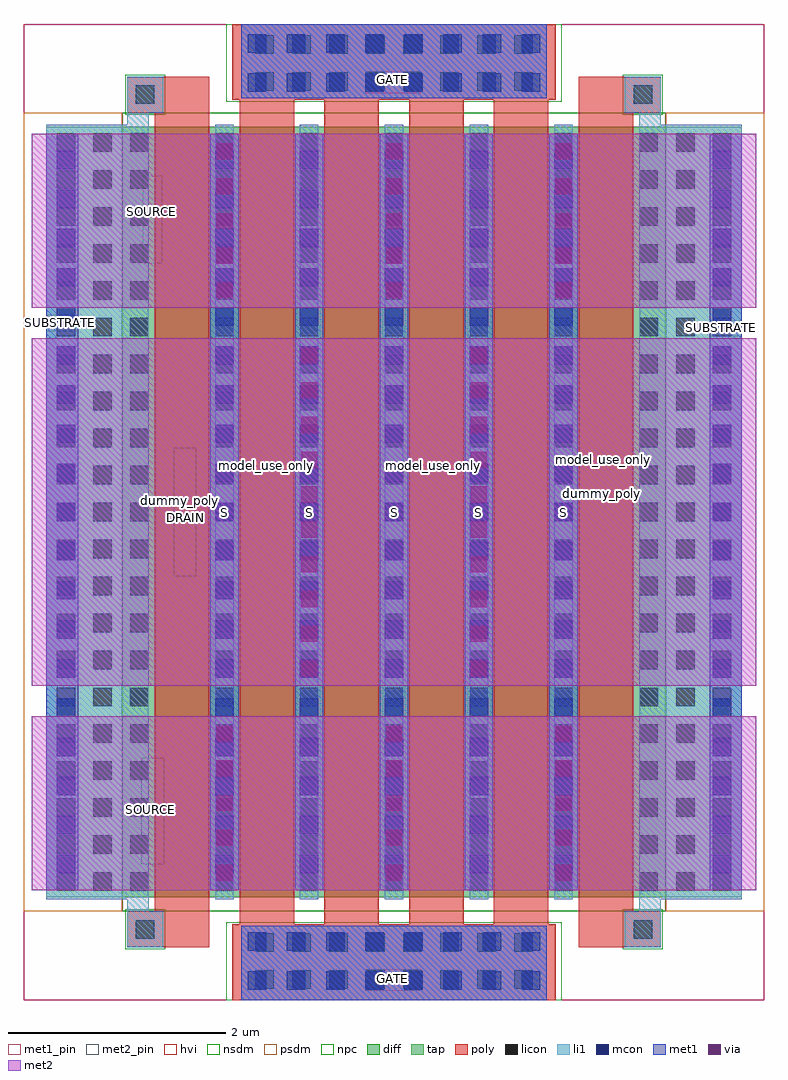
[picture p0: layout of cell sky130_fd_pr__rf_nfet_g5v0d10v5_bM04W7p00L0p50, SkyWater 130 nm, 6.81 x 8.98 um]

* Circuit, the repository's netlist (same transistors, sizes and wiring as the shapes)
* Copyright 2020 The SkyWater PDK Authors
*
* Licensed under the Apache License, Version 2.0 (the "License");
* you may not use this file except in compliance with the License.
* You may obtain a copy of the License at
*
*     https://www.apache.org/licenses/LICENSE-2.0
*
* Unless required by applicable law or agreed to in writing, software
* distributed under the License is distributed on an "AS IS" BASIS,
* WITHOUT WARRANTIES OR CONDITIONS OF ANY KIND, either express or implied.
* See the License for the specific language governing permissions and
* limitations under the License.
*
* SPDX-License-Identifier: Apache-2.0


.subckt sky130_fd_pr__rf_nfet_g5v0d10v5_bM04W7p00L0p50 DRAIN GATE SOURCE SUBSTRATE
X0 SUBSTRATE SUBSTRATE SOURCE SUBSTRATE sky130_fd_pr__nfet_g5v0d10v5 w=7.09e+06u l=500000u
X1 DRAIN GATE SOURCE SUBSTRATE sky130_fd_pr__nfet_g5v0d10v5 w=7.09e+06u l=500000u
X2 DRAIN GATE SOURCE SUBSTRATE sky130_fd_pr__nfet_g5v0d10v5 w=7.09e+06u l=500000u
X3 SOURCE SUBSTRATE SUBSTRATE SUBSTRATE sky130_fd_pr__nfet_g5v0d10v5 w=7.09e+06u l=500000u
X4 SOURCE GATE DRAIN SUBSTRATE sky130_fd_pr__nfet_g5v0d10v5 w=7.09e+06u l=500000u
X5 SOURCE GATE DRAIN SUBSTRATE sky130_fd_pr__nfet_g5v0d10v5 w=7.09e+06u l=500000u
.ends

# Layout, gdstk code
import gdstk
lib = gdstk.Library(unit=1e-6, precision=1e-09)
def R(c, l, rs):  # rectangles x0, y0, x1, y1
    for r in rs: c.add(gdstk.rectangle(r[:2], r[2:], *l))
def A(c, l, x, y, w, h, nx, ny, dx, dy):  # array of equal rectangles
    R(c, l, [(x+i*dx, y+j*dy, x+i*dx+w, y+j*dy+h) for i in range(nx) for j in range(ny)])
diff = (65, 20)
tap = (65, 44)
poly = (66, 20)
licon = (66, 44)
li1 = (67, 20)
mcon = (67, 44)
met1_pin = (68, 16)
met1 = (68, 20)
via = (68, 44)
met2_pin = (69, 16)
met2 = (69, 20)
hvi = (75, 20)
nsdm = (93, 44)
psdm = (94, 20)
npc = (95, 20)

sky130_fd_pr__rf_nfet_g5 = lib.new_cell('sky130_fd_pr__rf_nfet_g5v0d10v5_bM04W7p00L0p50')
R(sky130_fd_pr__rf_nfet_g5, diff, [(0.905,0.945,5.905,8.035)])
R(sky130_fd_pr__rf_nfet_g5, tap, [(0.205,0.945,0.905,8.035), (5.905,0.945,6.605,8.035)])
A(sky130_fd_pr__rf_nfet_g5, poly, 1.985, 0.695, 0.5, 7.59, 4, 1, 0.78, 0)
R(sky130_fd_pr__rf_nfet_g5, poly, [(1.915,0,4.895,0.695), (0.95,0.485,1.28,0.815), (1.205,0.485,1.705,8.495), (5.105,0.485,5.605,8.495), (5.53,0.485,5.86,0.815), (0.95,8.165,1.28,8.495), (5.53,8.165,5.86,8.495), (1.915,8.285,4.895,8.98)])
A(sky130_fd_pr__rf_nfet_g5, licon, 2.13, 0.105, 0.17, 0.17, 8, 2, 0.34, 0.34)
A(sky130_fd_pr__rf_nfet_g5, licon, 0.3, 1.005, 0.17, 0.17, 3, 21, 0.34, 0.34)
A(sky130_fd_pr__rf_nfet_g5, licon, 1.76, 1.005, 0.17, 0.17, 6, 21, 0.78, 0.34)
A(sky130_fd_pr__rf_nfet_g5, licon, 6, 1.005, 0.17, 0.17, 1, 21, 0, 0.34)
A(sky130_fd_pr__rf_nfet_g5, licon, 6.34, 1.005, 0.17, 0.17, 1, 21, 0, 0.34)
A(sky130_fd_pr__rf_nfet_g5, licon, 2.13, 8.365, 0.17, 0.17, 8, 2, 0.34, 0.34)
R(sky130_fd_pr__rf_nfet_g5, licon, [(1.03,0.565,1.2,0.735), (5.61,0.565,5.78,0.735), (1.03,8.245,1.2,8.415), (5.61,8.245,5.78,8.415)])
A(sky130_fd_pr__rf_nfet_g5, li1, 1.76, 0.925, 0.17, 7.13, 5, 1, 0.78, 0)
A(sky130_fd_pr__rf_nfet_g5, li1, 1.76, 3.145, 0.17, 2.69, 5, 1, 0.78, 0)
R(sky130_fd_pr__rf_nfet_g5, li1, [(2,0,4.81,0.685), (0.95,0.485,1.28,0.815), (5.53,0.485,5.86,0.815), (0.95,0.815,1.15,0.925), (5.66,0.815,5.86,0.925), (0.205,0.925,1.15,8.055), (5.66,0.925,6.605,8.055), (0.95,8.055,1.15,8.165), (5.66,8.055,5.86,8.165), (0.95,8.165,1.28,8.495), (5.53,8.165,5.86,8.495), (2,8.295,4.81,8.98)])
A(sky130_fd_pr__rf_nfet_g5, mcon, 2.06, 0.095, 0.17, 0.17, 8, 2, 0.36, 0.36)
A(sky130_fd_pr__rf_nfet_g5, mcon, 0.3, 1.165, 0.17, 0.17, 1, 19, 0, 0.36)
A(sky130_fd_pr__rf_nfet_g5, mcon, 1.76, 1.165, 0.17, 0.17, 5, 19, 0.78, 0.36)
A(sky130_fd_pr__rf_nfet_g5, mcon, 6.34, 1.165, 0.17, 0.17, 1, 19, 0, 0.36)
A(sky130_fd_pr__rf_nfet_g5, mcon, 2.06, 8.355, 0.17, 0.17, 8, 2, 0.36, 0.36)
R(sky130_fd_pr__rf_nfet_g5, met1_pin, [(3.14,0.085,3.645,0.285), (6.31,6.105,6.605,6.255), (0.205,6.155,0.5,6.305), (3.14,8.345,3.645,8.545)])
A(sky130_fd_pr__rf_nfet_g5, met1, 1.715, 1.01, 0.26, 1.6, 3, 2, 1.56, 5.36)
A(sky130_fd_pr__rf_nfet_g5, met1, 1.715, 1.01, 0.26, 6.96, 5, 1, 0.78, 0)
R(sky130_fd_pr__rf_nfet_g5, met1, [(2,0,4.81,0.685), (0.205,1.01,0.5,7.97), (6.31,1.01,6.605,7.97), (2,8.295,4.81,8.98)])
A(sky130_fd_pr__rf_nfet_g5, via, 1.77, 1.095, 0.15, 0.15, 3, 5, 1.56, 0.32)
A(sky130_fd_pr__rf_nfet_g5, via, 2.55, 2.975, 0.15, 0.15, 1, 10, 0, 0.32)
A(sky130_fd_pr__rf_nfet_g5, via, 4.11, 2.975, 0.15, 0.15, 1, 10, 0, 0.32)
A(sky130_fd_pr__rf_nfet_g5, via, 1.77, 6.455, 0.15, 0.15, 3, 5, 1.56, 0.32)
R(sky130_fd_pr__rf_nfet_g5, met2_pin, [(1.08,1.25,1.29,2.23), (1.38,3.9,1.585,5.08), (1.095,6.78,1.275,7.585)])
A(sky130_fd_pr__rf_nfet_g5, met2, 1.715, 1.01, 0.26, 1.6, 3, 2, 1.56, 5.36)
R(sky130_fd_pr__rf_nfet_g5, met2, [(0.07,1.01,6.74,2.61), (0.07,2.89,6.74,6.09), (0.07,6.37,6.74,7.97)])
R(sky130_fd_pr__rf_nfet_g5, hvi, [(0,0,6.81,8.98)])
R(sky130_fd_pr__rf_nfet_g5, nsdm, [(0.905,0.815,5.905,8.165)])
R(sky130_fd_pr__rf_nfet_g5, psdm, [(0,0.815,0.905,8.165), (5.905,0.815,6.81,8.165)])
R(sky130_fd_pr__rf_nfet_g5, npc, [(1.86,0,4.95,0.715), (0.93,0.465,1.3,0.835), (5.51,0.465,5.88,0.835), (0.93,8.145,1.3,8.515), (5.51,8.145,5.88,8.515), (1.86,8.265,4.95,8.98)])
sky130_fd_pr__rf_nfet_g5.add(gdstk.Label('SOURCE', (1.16,1.75), layer=69, texttype=5))
sky130_fd_pr__rf_nfet_g5.add(gdstk.Label('SOURCE', (1.175,7.255), layer=69, texttype=5))
sky130_fd_pr__rf_nfet_g5.add(gdstk.Label('DRAIN', (1.485,4.44), layer=69, texttype=5))
sky130_fd_pr__rf_nfet_g5.add(gdstk.Label('GATE', (3.395,8.47), layer=68, texttype=5))
sky130_fd_pr__rf_nfet_g5.add(gdstk.Label('GATE', (3.39,0.2), layer=68, texttype=5))
sky130_fd_pr__rf_nfet_g5.add(gdstk.Label('S', (4.185,4.49), layer=83, texttype=44))
sky130_fd_pr__rf_nfet_g5.add(gdstk.Label('S', (4.965,4.49), layer=83, texttype=44))
sky130_fd_pr__rf_nfet_g5.add(gdstk.Label('D', (4.185,4.49), layer=83, texttype=44))
sky130_fd_pr__rf_nfet_g5.add(gdstk.Label('S', (3.405,4.49), layer=83, texttype=44))
sky130_fd_pr__rf_nfet_g5.add(gdstk.Label('S', (3.405,4.49), layer=83, texttype=44))
sky130_fd_pr__rf_nfet_g5.add(gdstk.Label('S', (2.625,4.49), layer=83, texttype=44))
sky130_fd_pr__rf_nfet_g5.add(gdstk.Label('D', (2.625,4.49), layer=83, texttype=44))
sky130_fd_pr__rf_nfet_g5.add(gdstk.Label('S', (1.845,4.49), layer=83, texttype=44))
sky130_fd_pr__rf_nfet_g5.add(gdstk.Label('S', (1.845,4.49), layer=83, texttype=44))
sky130_fd_pr__rf_nfet_g5.add(gdstk.Label('dummy_poly', (5.31,4.66), layer=83, texttype=44))
sky130_fd_pr__rf_nfet_g5.add(gdstk.Label('dummy_poly', (1.43,4.595), layer=83, texttype=44))
sky130_fd_pr__rf_nfet_g5.add(gdstk.Label('model_use_only', (2.23,4.915), layer=66, texttype=83))
sky130_fd_pr__rf_nfet_g5.add(gdstk.Label('model_use_only', (3.005,4.96), layer=66, texttype=83))
sky130_fd_pr__rf_nfet_g5.add(gdstk.Label('model_use_only', (3.765,4.915), layer=66, texttype=83))
sky130_fd_pr__rf_nfet_g5.add(gdstk.Label('model_use_only', (4.54,4.975), layer=66, texttype=83))
sky130_fd_pr__rf_nfet_g5.add(gdstk.Label('model_use_only', (1.4,4.975), layer=66, texttype=83))
sky130_fd_pr__rf_nfet_g5.add(gdstk.Label('model_use_only', (5.33,4.975), layer=66, texttype=83))
sky130_fd_pr__rf_nfet_g5.add(gdstk.Label('SUBSTRATE', (0.335,6.235), layer=68, texttype=16))
sky130_fd_pr__rf_nfet_g5.add(gdstk.Label('SUBSTRATE', (6.42,6.185), layer=68, texttype=16))

lib.write_gds('sky130_fd_pr__rf_nfet_g5v0d10v5_bM04W7p00L0p50.gds')
